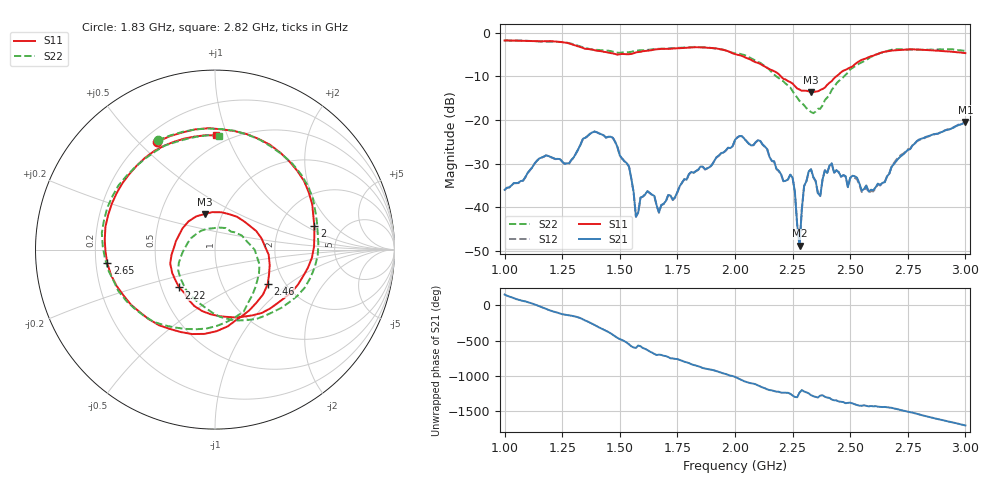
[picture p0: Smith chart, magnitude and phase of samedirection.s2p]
#  HZ  S  DB  R  50.00
! Rohde & Schwarz ZVA40 4Ports - Version 4.11 - 1145.1110k42 SN: 100302
! Date: 2022-08-19 12:22:59
! Measurements: S11 S21 S12 S22
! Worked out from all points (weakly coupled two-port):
!   201 points, 1 GHz to 3 GHz, reference 50 ohm
!   highest |S21| = -20.47 dB at 3 GHz (marker M1); lowest = -48.8 dB at 2.28 GHz (marker M2)
!   lowest |S11| = -13.7 dB at 2.33 GHz (marker M3), VSWR 1.52, Z = 41.3 + j17.1 ohm
!   |S11| at or under -10 dB: 2.199 GHz to 2.44 GHz (241.4 MHz wide, 10.4 % of centre)
!   |S22| runs from -18.4 to -1.8 dB; largest |S21 - S12| = 0.0071
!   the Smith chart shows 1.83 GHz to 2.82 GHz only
!   S11 on the Smith chart (normalised r, x): 1.83 GHz: 0.25, +0.57; 2 GHz: 3.12, +1.22; 2.22 GHz: 0.62, -0.28; 2.46 GHz: 1.63, -0.72; 2.65 GHz: 0.25, -0.06; 2.82 GHz: 0.43, +0.91
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1e9  -1.78 15.6  -36.03 152.1  -36.10 153.1  -1.79 15.1
1.09e9  -1.85 -82.4  -33.13 55.6  -33.16 56.5  -1.85 -82.5
1.19e9  -1.95 -172.7  -28.27 -64.3  -28.33 -62.4  -2.01 -173.2
1.27e9  -2.33 122.1  -29.95 -136.8  -30.04 -134.9  -2.28 123.4
1.34e9  -3.50 72.2  -24.33 161.2  -24.39 163.0  -3.34 72.9
1.47e9  -4.75 -11.5  -24.10 -58.4  -24.13 -57.1  -4.37 -9.0
1.57e9  -4.51 -70.6  -42.20 117.2  -42.20 120.0  -4.09 -68.7
1.67e9  -3.78 -139.3  -41.20 21.9  -41.28 24.6  -3.69 -135.6
1.83e9  -3.34 118.1  -31.72 -131.9  -31.78 -130.3  -3.27 117.7
2e9  -4.90 13.4  -24.59 67.0  -24.63 68.6  -4.74 9.1
2.11e9  -7.15 -53.6  -24.83 -69.5  -24.89 -65.3  -6.93 -59.0
2.22e9  -10.74 -133.5  -33.96 -156.4  -33.97 -152.4  -11.69 -133.4
2.25e9  -11.66 -162.9  -33.25 164.0  -33.31 168.1  -13.37 -159.9
2.28e9  -13.03 168.0  -48.82 -155.5  -48.94 -150.1  -15.63 175.2
2.3e9  -13.30 146.8  -35.13 -138.5  -35.18 -134.3  -16.65 153.9
2.33e9  -13.70 106.3  -31.31 168.8  -31.39 172.5  -18.19 110.2
2.34e9  -13.59 94.2  -33.10 154.0  -33.19 157.6  -18.45 95.8
2.46e9  -9.08 -33.3  -32.99 74.9  -33.06 79.1  -10.69 -36.2
2.65e9  -4.36 -173.0  -34.25 2.3  -34.28 9.2  -4.37 -168.9
2.67e9  -4.19 174.6  -32.32 -4.6  -32.18 3.2  -4.07 178.2
2.82e9  -3.92 89.4  -24.12 -121.1  -24.22 -115.6  -3.96 88.1
3e9  -4.68 -8.3  -20.47 100.5  -20.46 104.4  -4.18 -10.7
